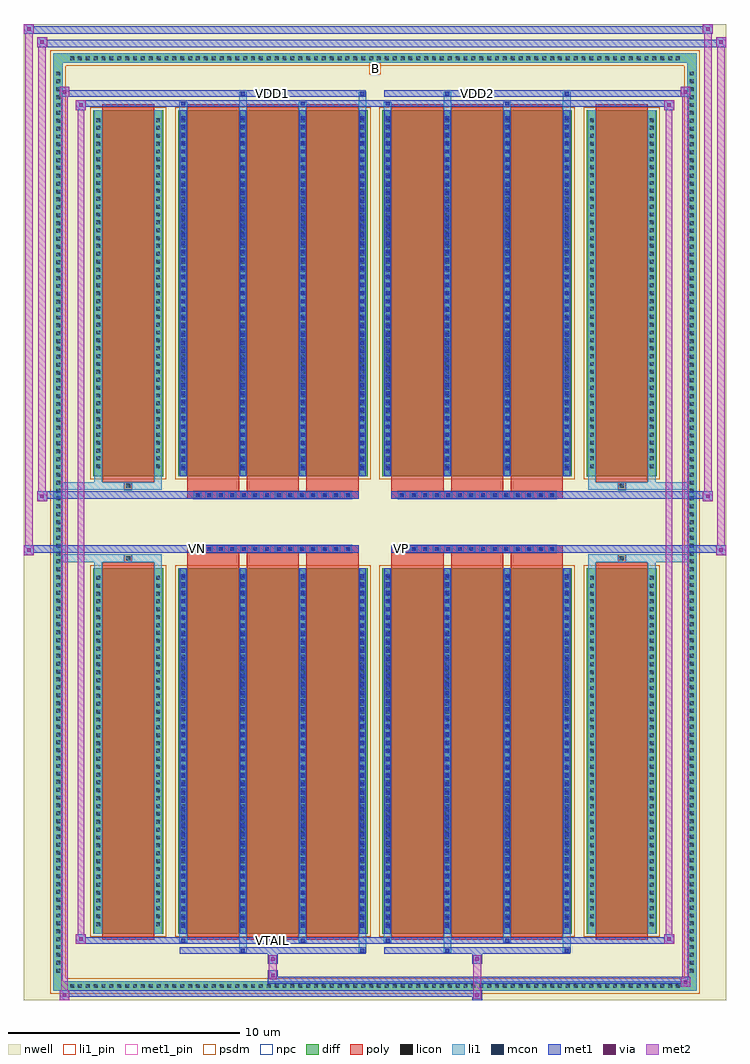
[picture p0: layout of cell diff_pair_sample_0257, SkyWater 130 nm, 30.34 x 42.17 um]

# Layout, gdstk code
import gdstk
lib = gdstk.Library(unit=1e-6, precision=5e-09)
def R(c, l, rs):  # rectangles x0, y0, x1, y1
    for r in rs: c.add(gdstk.rectangle(r[:2], r[2:], *l))
def A(c, l, x, y, w, h, nx, ny, dx, dy):  # array of equal rectangles
    R(c, l, [(x+i*dx, y+j*dy, x+i*dx+w, y+j*dy+h) for i in range(nx) for j in range(ny)])
def P(c, l, *ps):  # polygons
    for p in ps: c.add(gdstk.Polygon(p, *l))
nwell = (64, 20)
diff = (65, 20)
poly = (66, 20)
licon = (66, 44)
li1_pin = (67, 16)
li1 = (67, 20)
mcon = (67, 44)
met1_pin = (68, 16)
met1 = (68, 20)
via = (68, 44)
met2 = (69, 20)
psdm = (94, 20)
npc = (95, 20)

diff_pair_sample_0257 = lib.new_cell('diff_pair_sample_0257')
R(diff_pair_sample_0257, nwell, [(-15.17,-20.65,15.17,21.52), (-12.49,-18.84,-0.01,-0.8), (0.01,-18.84,12.49,-0.8), (-12.49,0.8,-0.01,18.84), (0.01,0.8,12.49,18.84)])
A(diff_pair_sample_0257, diff, -13.295, -20.25, 0.41, 0.41, 78, 2, 0.34, 40.09)
A(diff_pair_sample_0257, diff, -13.9, -19.585, 0.41, 0.41, 1, 115, 0, 0.34)
A(diff_pair_sample_0257, diff, 13.49, -19.585, 0.41, 0.41, 1, 115, 0, 0.34)
R(diff_pair_sample_0257, diff, [(-13.295,-20.25,13.295,-19.84), (-13.9,-19.585,-13.49,19.585), (13.49,-19.585,13.9,19.585), (-12.18,-17.795,-9.15,-1.985), (-8.51,-17.795,-0.32,-1.985), (0.32,-17.795,8.51,-1.985), (9.15,-17.795,12.18,-1.985), (-12.18,1.985,-9.15,17.795), (-8.51,1.985,-0.32,17.795), (0.32,1.985,8.51,17.795), (9.15,1.985,12.18,17.795), (-13.295,19.84,13.295,20.25)])
P(diff_pair_sample_0257, diff, [(13.9,20.25),(-13.9,20.25),(-13.9,-19.84),(-13.49,-19.84),(-13.49,19.84),(13.49,19.84),(13.49,-19.84),(-13.49,-19.84),(-13.9,-19.84),(-13.9,-20.25),(13.9,-20.25)])
A(diff_pair_sample_0257, poly, -8.12, -18.05, 2.25, 16.32, 3, 2, 2.58, 19.78)
A(diff_pair_sample_0257, poly, 0.71, -18.05, 2.25, 16.32, 3, 2, 2.58, 19.78)
A(diff_pair_sample_0257, poly, -8.12, -1.73, 2.25, 0.4, 3, 2, 2.58, 3.06)
A(diff_pair_sample_0257, poly, 0.71, -1.73, 2.25, 0.4, 3, 2, 2.58, 3.06)
A(diff_pair_sample_0257, poly, -7.83, -1.33, 0.33, 0.33, 14, 2, 0.5, 2.33)
A(diff_pair_sample_0257, poly, 1, -1.33, 0.33, 0.33, 14, 2, 0.5, 2.33)
R(diff_pair_sample_0257, poly, [(-11.79,-18.05,-9.54,-1.73), (9.54,-18.05,11.79,-1.73), (-10.83,-1.73,-10.5,-1.4), (-10.83,-1.73,-10.5,-1.4), (10.5,-1.73,10.83,-1.4), (10.5,-1.73,10.83,-1.4), (-8.12,-1.33,-0.71,-1), (0.71,-1.33,8.12,-1), (-8.12,1,-0.71,1.33), (0.71,1,8.12,1.33), (-10.83,1.4,-10.5,1.73), (-10.83,1.4,-10.5,1.73), (10.5,1.4,10.83,1.73), (10.5,1.4,10.83,1.73), (-11.79,1.73,-9.54,18.05), (9.54,1.73,11.79,18.05)])
A(diff_pair_sample_0257, licon, -13.175, -20.13, 0.17, 0.17, 78, 2, 0.34, 40.09)
A(diff_pair_sample_0257, licon, -13.78, -19.465, 0.17, 0.17, 1, 115, 0, 0.34)
A(diff_pair_sample_0257, licon, 13.61, -19.465, 0.17, 0.17, 1, 115, 0, 0.34)
A(diff_pair_sample_0257, licon, -12.04, -17.455, 0.17, 0.17, 1, 45, 0, 0.34)
A(diff_pair_sample_0257, licon, -9.46, -17.455, 0.17, 0.17, 1, 45, 0, 0.34)
A(diff_pair_sample_0257, licon, -8.37, -17.455, 0.17, 0.17, 4, 45, 2.58, 0.34)
A(diff_pair_sample_0257, licon, 0.46, -17.455, 0.17, 0.17, 4, 45, 2.58, 0.34)
A(diff_pair_sample_0257, licon, 9.29, -17.455, 0.17, 0.17, 1, 45, 0, 0.34)
A(diff_pair_sample_0257, licon, 11.87, -17.455, 0.17, 0.17, 1, 45, 0, 0.34)
A(diff_pair_sample_0257, licon, -7.75, -1.25, 0.17, 0.17, 14, 2, 0.5, 2.33)
A(diff_pair_sample_0257, licon, 1.08, -1.25, 0.17, 0.17, 14, 2, 0.5, 2.33)
A(diff_pair_sample_0257, licon, -12.04, 2.325, 0.17, 0.17, 1, 45, 0, 0.34)
A(diff_pair_sample_0257, licon, -9.46, 2.325, 0.17, 0.17, 1, 45, 0, 0.34)
A(diff_pair_sample_0257, licon, -8.37, 2.325, 0.17, 0.17, 4, 45, 2.58, 0.34)
A(diff_pair_sample_0257, licon, 0.46, 2.325, 0.17, 0.17, 4, 45, 2.58, 0.34)
A(diff_pair_sample_0257, licon, 9.29, 2.325, 0.17, 0.17, 1, 45, 0, 0.34)
A(diff_pair_sample_0257, licon, 11.87, 2.325, 0.17, 0.17, 1, 45, 0, 0.34)
R(diff_pair_sample_0257, licon, [(-10.75,-1.65,-10.58,-1.48), (10.58,-1.65,10.75,-1.48), (-10.75,1.48,-10.58,1.65), (10.58,1.48,10.75,1.65)])
R(diff_pair_sample_0257, li1_pin, [(-0.25,19.34,0.25,19.84)])
A(diff_pair_sample_0257, li1, -13.255, -20.21, 0.33, 0.33, 78, 2, 0.34, 40.09)
A(diff_pair_sample_0257, li1, -13.86, -19.545, 0.33, 0.33, 1, 115, 0, 0.34)
A(diff_pair_sample_0257, li1, 13.53, -19.545, 0.33, 0.33, 1, 115, 0, 0.34)
A(diff_pair_sample_0257, li1, -8.45, -17.795, 0.33, 15.81, 4, 2, 2.58, 19.78)
A(diff_pair_sample_0257, li1, 0.38, -17.795, 0.33, 15.81, 4, 2, 2.58, 19.78)
A(diff_pair_sample_0257, li1, -12.12, -17.535, 0.33, 0.33, 1, 45, 0, 0.34)
A(diff_pair_sample_0257, li1, -9.54, -17.535, 0.33, 0.33, 1, 45, 0, 0.34)
A(diff_pair_sample_0257, li1, -8.45, -17.535, 0.33, 0.33, 4, 45, 2.58, 0.34)
A(diff_pair_sample_0257, li1, -8.37, -17.535, 0.17, 0.17, 4, 43, 2.58, 0.36)
A(diff_pair_sample_0257, li1, -8.37, -17.535, 0.17, 15.29, 4, 2, 2.58, 19.78)
A(diff_pair_sample_0257, li1, 0.38, -17.535, 0.33, 0.33, 4, 45, 2.58, 0.34)
A(diff_pair_sample_0257, li1, 0.46, -17.535, 0.17, 0.17, 4, 43, 2.58, 0.36)
A(diff_pair_sample_0257, li1, 0.46, -17.535, 0.17, 15.29, 4, 2, 2.58, 19.78)
A(diff_pair_sample_0257, li1, 9.21, -17.535, 0.33, 0.33, 1, 45, 0, 0.34)
A(diff_pair_sample_0257, li1, 11.79, -17.535, 0.33, 0.33, 1, 45, 0, 0.34)
A(diff_pair_sample_0257, li1, -7.83, -1.33, 0.33, 0.33, 14, 2, 0.5, 2.33)
A(diff_pair_sample_0257, li1, 1, -1.33, 0.33, 0.33, 14, 2, 0.5, 2.33)
A(diff_pair_sample_0257, li1, -12.12, 2.245, 0.33, 0.33, 1, 45, 0, 0.34)
A(diff_pair_sample_0257, li1, -9.54, 2.245, 0.33, 0.33, 1, 45, 0, 0.34)
A(diff_pair_sample_0257, li1, -8.45, 2.245, 0.33, 0.33, 4, 45, 2.58, 0.34)
A(diff_pair_sample_0257, li1, -8.37, 2.245, 0.17, 0.17, 4, 43, 2.58, 0.36)
A(diff_pair_sample_0257, li1, 0.38, 2.245, 0.33, 0.33, 4, 45, 2.58, 0.34)
A(diff_pair_sample_0257, li1, 0.46, 2.245, 0.17, 0.17, 4, 43, 2.58, 0.36)
A(diff_pair_sample_0257, li1, 9.21, 2.245, 0.33, 0.33, 1, 45, 0, 0.34)
A(diff_pair_sample_0257, li1, 11.79, 2.245, 0.33, 0.33, 1, 45, 0, 0.34)
R(diff_pair_sample_0257, li1, [(-13.9,-20.25,-13.49,-19.84), (-13.9,-20.25,-13.49,-19.84), (-13.49,-20.25,13.49,-19.84), (13.49,-20.25,13.9,-19.84), (13.49,-20.25,13.9,-19.84), (-13.9,-19.84,-13.49,19.84), (13.49,-19.84,13.9,19.84), (-5.87,-18.6,-5.54,-17.795), (-5.79,-18.6,-5.62,-18.43), (-0.71,-18.6,-0.38,-17.795), (-0.63,-18.6,-0.46,-18.43), (2.96,-18.6,3.29,-17.795), (3.04,-18.6,3.21,-18.43), (8.12,-18.6,8.45,-17.795), (8.2,-18.6,8.37,-18.43), (-8.45,-18.17,-8.12,-17.795), (-8.37,-18.17,-8.2,-18), (-3.29,-18.17,-2.96,-17.795), (-3.21,-18.17,-3.04,-18), (0.38,-18.17,0.71,-17.795), (0.46,-18.17,0.63,-18), (5.54,-18.17,5.87,-17.795), (5.62,-18.17,5.79,-18), (-12.12,-17.795,-11.79,-1.985), (-9.54,-17.795,-9.21,-1.985), (9.21,-17.795,9.54,-1.985), (11.79,-17.795,12.12,-1.985), (-12.12,-1.985,-11.79,-1.4), (-9.54,-1.985,-9.21,-1.4), (9.21,-1.985,9.54,-1.4), (11.79,-1.985,12.12,-1.4), (-13.9,-1.73,-10.83,-1.4), (-12.12,-1.73,-10.83,-1.4), (-10.83,-1.73,-10.5,-1.4), (-10.5,-1.73,-9.21,-1.4), (9.21,-1.73,10.5,-1.4), (10.5,-1.73,10.83,-1.4), (10.5,-1.73,13.9,-1.4), (10.83,-1.73,12.12,-1.4), (-13.9,1.4,-10.83,1.73), (-12.12,1.4,-10.83,1.73), (-12.12,1.4,-11.79,1.985), (-10.83,1.4,-10.5,1.73), (-10.5,1.4,-9.21,1.73), (-9.54,1.4,-9.21,1.985), (9.21,1.4,10.5,1.73), (9.21,1.4,9.54,1.985), (10.5,1.4,10.83,1.73), (10.5,1.4,13.9,1.73), (10.83,1.4,12.12,1.73), (11.79,1.4,12.12,1.985), (-12.12,1.985,-11.79,17.795), (-9.54,1.985,-9.21,17.795), (9.21,1.985,9.54,17.795), (11.79,1.985,12.12,17.795), (-8.45,17.795,-8.12,18.17), (-5.87,17.795,-5.54,18.6), (-3.29,17.795,-2.96,18.17), (-0.71,17.795,-0.38,18.6), (0.38,17.795,0.71,18.17), (2.96,17.795,3.29,18.6), (5.54,17.795,5.87,18.17), (8.12,17.795,8.45,18.6), (-8.37,18,-8.2,18.17), (-3.21,18,-3.04,18.17), (0.46,18,0.63,18.17), (5.62,18,5.79,18.17), (-5.79,18.43,-5.62,18.6), (-0.63,18.43,-0.46,18.6), (3.04,18.43,3.21,18.6), (8.2,18.43,8.37,18.6), (-13.9,19.84,-13.49,20.25), (-13.9,19.84,-13.49,20.25), (-13.49,19.84,13.49,20.25), (13.49,19.84,13.9,20.25), (13.49,19.84,13.9,20.25)])
A(diff_pair_sample_0257, mcon, -8.37, -17.535, 0.17, 0.17, 4, 43, 2.58, 0.36)
A(diff_pair_sample_0257, mcon, 0.46, -17.535, 0.17, 0.17, 4, 43, 2.58, 0.36)
A(diff_pair_sample_0257, mcon, -7.75, -1.25, 0.17, 0.17, 14, 2, 0.5, 2.33)
A(diff_pair_sample_0257, mcon, 1.08, -1.25, 0.17, 0.17, 14, 2, 0.5, 2.33)
A(diff_pair_sample_0257, mcon, -8.37, 2.245, 0.17, 0.17, 4, 43, 2.58, 0.36)
A(diff_pair_sample_0257, mcon, 0.46, 2.245, 0.17, 0.17, 4, 43, 2.58, 0.36)
R(diff_pair_sample_0257, mcon, [(-5.79,-18.6,-5.62,-18.43), (-0.63,-18.6,-0.46,-18.43), (3.04,-18.6,3.21,-18.43), (8.2,-18.6,8.37,-18.43), (-8.37,-18.17,-8.2,-18), (-3.21,-18.17,-3.04,-18), (0.46,-18.17,0.63,-18), (5.62,-18.17,5.79,-18), (-8.37,18,-8.2,18.17), (-3.21,18,-3.04,18.17), (0.46,18,0.63,18.17), (5.62,18,5.79,18.17), (-5.79,18.43,-5.62,18.6), (-0.63,18.43,-0.46,18.6), (3.04,18.43,3.21,18.6), (8.2,18.43,8.37,18.6)])
R(diff_pair_sample_0257, met1_pin, [(-4.55,-18.21,-4.28,-17.94), (-7.8,-1.29,-7.53,-1.02), (1.03,-1.29,1.3,-1.02), (-4.55,18.39,-4.28,18.66), (4.28,18.39,4.55,18.66)])
A(diff_pair_sample_0257, met1, -8.43, -17.795, 0.29, 15.81, 4, 2, 2.58, 19.78)
A(diff_pair_sample_0257, met1, 0.4, -17.795, 0.29, 15.81, 4, 2, 2.58, 19.78)
A(diff_pair_sample_0257, met1, -8.43, -17.595, 0.29, 0.29, 4, 43, 2.58, 0.36)
A(diff_pair_sample_0257, met1, 0.4, -17.595, 0.29, 0.29, 4, 43, 2.58, 0.36)
A(diff_pair_sample_0257, met1, -7.81, -1.31, 0.29, 0.29, 14, 2, 0.5, 2.33)
A(diff_pair_sample_0257, met1, 1.02, -1.31, 0.29, 0.29, 14, 2, 0.5, 2.33)
A(diff_pair_sample_0257, met1, -8.43, 2.185, 0.29, 0.29, 4, 43, 2.58, 0.36)
A(diff_pair_sample_0257, met1, 0.4, 2.185, 0.29, 0.29, 4, 43, 2.58, 0.36)
R(diff_pair_sample_0257, met1, [(-13.63,-20.65,-13.2,-20.22), (4.2,-20.65,4.63,-20.22), (-13.63,-20.51,4.63,-20.22), (13.2,-20.08,13.63,-19.65), (-4.63,-19.94,13.63,-19.65), (-4.63,-19.8,-4.2,-19.37), (-4.63,-19.09,-4.2,-18.66), (4.2,-19.09,4.63,-18.66), (-8.43,-18.66,-0.4,-18.37), (-5.85,-18.66,-5.56,-18.37), (-0.69,-18.66,-0.4,-18.37), (0.4,-18.66,8.43,-18.37), (2.98,-18.66,3.27,-18.37), (8.14,-18.66,8.43,-18.37), (-12.92,-18.23,-12.49,-17.8), (-12.92,-18.23,-8.43,-17.94), (-8.43,-18.23,-8.14,-17.94), (-8.43,-18.23,-0.4,-17.94), (-3.27,-18.23,-2.98,-17.94), (-0.4,-18.23,0.4,-17.94), (0.4,-18.23,0.69,-17.94), (0.4,-18.23,8.43,-17.94), (5.56,-18.23,5.85,-17.94), (8.43,-18.23,12.92,-17.94), (12.49,-18.23,12.92,-17.8), (-15.17,-1.43,-14.74,-1), (14.74,-1.43,15.17,-1), (-15.17,-1.33,-0.71,-1), (-8.12,-1.33,-0.71,-1), (0.71,-1.33,8.12,-1), (0.71,-1.33,15.17,-1), (-14.6,0.9,-14.17,1.33), (14.17,0.9,14.6,1.33), (-14.6,1,-8.12,1.33), (-8.12,1,-0.71,1.33), (0.71,1,8.12,1.33), (8.12,1,14.6,1.33), (-12.92,17.8,-12.49,18.23), (12.49,17.8,12.92,18.23), (-12.92,17.94,-8.43,18.23), (-8.43,17.94,-8.14,18.23), (-8.43,17.94,-0.4,18.23), (-3.27,17.94,-2.98,18.23), (-0.4,17.94,0.4,18.23), (0.4,17.94,0.69,18.23), (0.4,17.94,8.43,18.23), (5.56,17.94,5.85,18.23), (8.43,17.94,12.92,18.23), (-13.63,18.37,-13.2,18.8), (-13.63,18.37,-8.43,18.66), (-8.43,18.37,-0.4,18.66), (-5.85,18.37,-5.56,18.66), (-0.69,18.37,-0.4,18.66), (0.4,18.37,8.43,18.66), (2.98,18.37,3.27,18.66), (8.14,18.37,8.43,18.66), (8.43,18.37,13.63,18.66), (13.2,18.37,13.63,18.8), (-14.6,20.52,-14.17,20.95), (-14.6,20.52,-12.49,20.85), (-12.49,20.52,12.49,20.85), (12.49,20.52,15.17,20.85), (14.74,20.52,15.17,20.95), (-15.17,21.09,-14.74,21.52), (-15.17,21.09,-12.49,21.42), (-12.49,21.09,12.49,21.42), (12.49,21.09,14.6,21.42), (14.17,21.09,14.6,21.52)])
R(diff_pair_sample_0257, via, [(-13.49,-20.51,-13.34,-20.36), (4.34,-20.51,4.49,-20.36), (13.34,-19.94,13.49,-19.79), (-4.49,-19.66,-4.34,-19.51), (-4.49,-18.95,-4.34,-18.8), (4.34,-18.95,4.49,-18.8), (-12.78,-18.09,-12.63,-17.94), (12.63,-18.09,12.78,-17.94), (-15.03,-1.29,-14.88,-1.14), (14.88,-1.29,15.03,-1.14), (-14.46,1.04,-14.31,1.19), (14.31,1.04,14.46,1.19), (-12.78,17.94,-12.63,18.09), (12.63,17.94,12.78,18.09), (-13.49,18.51,-13.34,18.66), (13.34,18.51,13.49,18.66), (-14.46,20.66,-14.31,20.81), (14.88,20.66,15.03,20.81), (-15.03,21.23,-14.88,21.38), (14.31,21.23,14.46,21.38)])
R(diff_pair_sample_0257, met2, [(-13.63,-20.65,-13.2,-20.22), (-13.56,-20.65,-13.27,18.8), (-13.27,-20.65,-13.2,-20.22), (-13.58,-20.6,-13.25,-20.27), (4.25,-20.6,4.58,-20.27), (4.25,-20.27,4.58,-19.04), (13.2,-20.08,13.63,-19.65), (13.27,-20.08,13.56,18.8), (13.56,-20.08,13.63,-19.65), (13.25,-20.03,13.58,-19.7), (-4.58,-19.75,-4.25,-19.42), (-4.58,-19.42,-4.25,-19.04), (-4.58,-19.04,-4.25,-18.71), (4.25,-19.04,4.58,-18.71), (-12.92,-18.23,-12.49,-17.8), (-12.85,-18.23,-12.56,18.23), (-12.56,-18.23,-12.49,-17.8), (12.49,-18.23,12.92,-17.8), (12.56,-18.23,12.85,18.23), (12.85,-18.23,12.92,-17.8), (-12.87,-18.18,-12.54,-17.85), (12.54,-18.18,12.87,-17.85), (-15.17,-1.43,-14.74,-1), (-15.12,-1.43,-14.79,21.52), (-14.79,-1.43,-14.74,-1), (14.74,-1.43,15.17,-1), (14.79,-1.43,15.12,20.95), (15.12,-1.43,15.17,-1), (-15.12,-1.38,-14.79,-1.05), (14.79,-1.38,15.12,-1.05), (-14.6,0.9,-14.17,1.33), (-14.55,0.9,-14.22,20.95), (-14.22,0.9,-14.17,1.33), (14.17,0.9,14.6,1.33), (14.22,0.9,14.55,21.52), (14.55,0.9,14.6,1.33), (-14.55,0.95,-14.22,1.28), (14.22,0.95,14.55,1.28), (-12.92,17.8,-12.49,18.23), (-12.56,17.8,-12.49,18.23), (12.49,17.8,12.92,18.23), (12.85,17.8,12.92,18.23), (-12.87,17.85,-12.54,18.18), (12.54,17.85,12.87,18.18), (-13.63,18.37,-13.2,18.8), (-13.27,18.37,-13.2,18.8), (13.2,18.37,13.63,18.8), (13.56,18.37,13.63,18.8), (-13.58,18.42,-13.25,18.75), (13.25,18.42,13.58,18.75), (-14.6,20.52,-14.17,20.95), (-14.22,20.52,-14.17,20.95), (14.74,20.52,15.17,20.95), (15.12,20.52,15.17,20.95), (-14.55,20.57,-14.22,20.9), (14.79,20.57,15.12,20.9), (-15.17,21.09,-14.74,21.52), (-14.79,21.09,-14.74,21.52), (14.17,21.09,14.6,21.52), (14.55,21.09,14.6,21.52), (-15.12,21.14,-14.79,21.47), (14.22,21.14,14.55,21.47)])
R(diff_pair_sample_0257, psdm, [(-12.31,-17.925,-9.02,-1.855), (-8.64,-17.925,-0.19,-1.855), (0.19,-17.925,8.64,-1.855), (9.02,-17.925,12.31,-1.855), (-12.31,1.855,-9.02,17.925), (-8.64,1.855,-0.19,17.925), (0.19,1.855,8.64,17.925), (9.02,1.855,12.31,17.925)])
P(diff_pair_sample_0257, psdm, [(14.03,20.38),(-14.03,20.38),(-14.03,-19.71),(-13.36,-19.71),(-13.36,19.71),(13.36,19.71),(13.36,-19.71),(-13.36,-19.71),(-14.03,-19.71),(-14.03,-20.38),(14.03,-20.38)])
A(diff_pair_sample_0257, npc, -7.85, -1.35, 0.37, 0.37, 14, 2, 0.5, 2.33)
A(diff_pair_sample_0257, npc, 0.98, -1.35, 0.37, 0.37, 14, 2, 0.5, 2.33)
R(diff_pair_sample_0257, npc, [(-10.85,-1.75,-10.48,-1.38), (10.48,-1.75,10.85,-1.38), (-7.85,-1.35,-6.98,-0.98), (-7.85,-1.35,-6.98,-0.98), (-7.35,-1.35,-6.48,-0.98), (-7.35,-1.35,-6.48,-0.98), (-6.85,-1.35,-5.98,-0.98), (-6.85,-1.35,-5.98,-0.98), (-6.35,-1.35,-5.48,-0.98), (-6.35,-1.35,-5.48,-0.98), (-5.85,-1.35,-4.98,-0.98), (-5.85,-1.35,-4.98,-0.98), (-5.35,-1.35,-4.48,-0.98), (-5.35,-1.35,-4.48,-0.98), (-4.85,-1.35,-3.98,-0.98), (-4.85,-1.35,-3.98,-0.98), (-4.35,-1.35,-3.48,-0.98), (-4.35,-1.35,-3.48,-0.98), (-3.85,-1.35,-2.98,-0.98), (-3.85,-1.35,-2.98,-0.98), (-3.35,-1.35,-2.48,-0.98), (-3.35,-1.35,-2.48,-0.98), (-2.85,-1.35,-1.98,-0.98), (-2.85,-1.35,-1.98,-0.98), (-2.35,-1.35,-1.48,-0.98), (-2.35,-1.35,-1.48,-0.98), (-1.85,-1.35,-0.98,-0.98), (-1.85,-1.35,-0.98,-0.98), (0.98,-1.35,1.85,-0.98), (0.98,-1.35,1.85,-0.98), (1.48,-1.35,2.35,-0.98), (1.48,-1.35,2.35,-0.98), (1.98,-1.35,2.85,-0.98), (1.98,-1.35,2.85,-0.98), (2.48,-1.35,3.35,-0.98), (2.48,-1.35,3.35,-0.98), (2.98,-1.35,3.85,-0.98), (2.98,-1.35,3.85,-0.98), (3.48,-1.35,4.35,-0.98), (3.48,-1.35,4.35,-0.98), (3.98,-1.35,4.85,-0.98), (3.98,-1.35,4.85,-0.98), (4.48,-1.35,5.35,-0.98), (4.48,-1.35,5.35,-0.98), (4.98,-1.35,5.85,-0.98), (4.98,-1.35,5.85,-0.98), (5.48,-1.35,6.35,-0.98), (5.48,-1.35,6.35,-0.98), (5.98,-1.35,6.85,-0.98), (5.98,-1.35,6.85,-0.98), (6.48,-1.35,7.35,-0.98), (6.48,-1.35,7.35,-0.98), (6.98,-1.35,7.85,-0.98), (6.98,-1.35,7.85,-0.98), (-7.85,0.98,-6.98,1.35), (-7.85,0.98,-6.98,1.35), (-7.35,0.98,-6.48,1.35), (-7.35,0.98,-6.48,1.35), (-6.85,0.98,-5.98,1.35), (-6.85,0.98,-5.98,1.35), (-6.35,0.98,-5.48,1.35), (-6.35,0.98,-5.48,1.35), (-5.85,0.98,-4.98,1.35), (-5.85,0.98,-4.98,1.35), (-5.35,0.98,-4.48,1.35), (-5.35,0.98,-4.48,1.35), (-4.85,0.98,-3.98,1.35), (-4.85,0.98,-3.98,1.35), (-4.35,0.98,-3.48,1.35), (-4.35,0.98,-3.48,1.35), (-3.85,0.98,-2.98,1.35), (-3.85,0.98,-2.98,1.35), (-3.35,0.98,-2.48,1.35), (-3.35,0.98,-2.48,1.35), (-2.85,0.98,-1.98,1.35), (-2.85,0.98,-1.98,1.35), (-2.35,0.98,-1.48,1.35), (-2.35,0.98,-1.48,1.35), (-1.85,0.98,-0.98,1.35), (-1.85,0.98,-0.98,1.35), (0.98,0.98,1.85,1.35), (0.98,0.98,1.85,1.35), (1.48,0.98,2.35,1.35), (1.48,0.98,2.35,1.35), (1.98,0.98,2.85,1.35), (1.98,0.98,2.85,1.35), (2.48,0.98,3.35,1.35), (2.48,0.98,3.35,1.35), (2.98,0.98,3.85,1.35), (2.98,0.98,3.85,1.35), (3.48,0.98,4.35,1.35), (3.48,0.98,4.35,1.35), (3.98,0.98,4.85,1.35), (3.98,0.98,4.85,1.35), (4.48,0.98,5.35,1.35), (4.48,0.98,5.35,1.35), (4.98,0.98,5.85,1.35), (4.98,0.98,5.85,1.35), (5.48,0.98,6.35,1.35), (5.48,0.98,6.35,1.35), (5.98,0.98,6.85,1.35), (5.98,0.98,6.85,1.35), (6.48,0.98,7.35,1.35), (6.48,0.98,7.35,1.35), (6.98,0.98,7.85,1.35), (6.98,0.98,7.85,1.35), (-10.85,1.38,-10.48,1.75), (10.48,1.38,10.85,1.75)])
diff_pair_sample_0257.add(gdstk.Label('VTAIL', (-4.415,-18.075), layer=68, texttype=5))
diff_pair_sample_0257.add(gdstk.Label('VN', (-7.665,-1.155), layer=68, texttype=5))
diff_pair_sample_0257.add(gdstk.Label('VP', (1.165,-1.155), layer=68, texttype=5))
diff_pair_sample_0257.add(gdstk.Label('B', (0,19.59), layer=67, texttype=5))
diff_pair_sample_0257.add(gdstk.Label('VDD2', (4.415,18.525), layer=68, texttype=5))
diff_pair_sample_0257.add(gdstk.Label('VDD1', (-4.415,18.525), layer=68, texttype=5))

lib.write_gds('diff_pair_sample_0257.gds')
